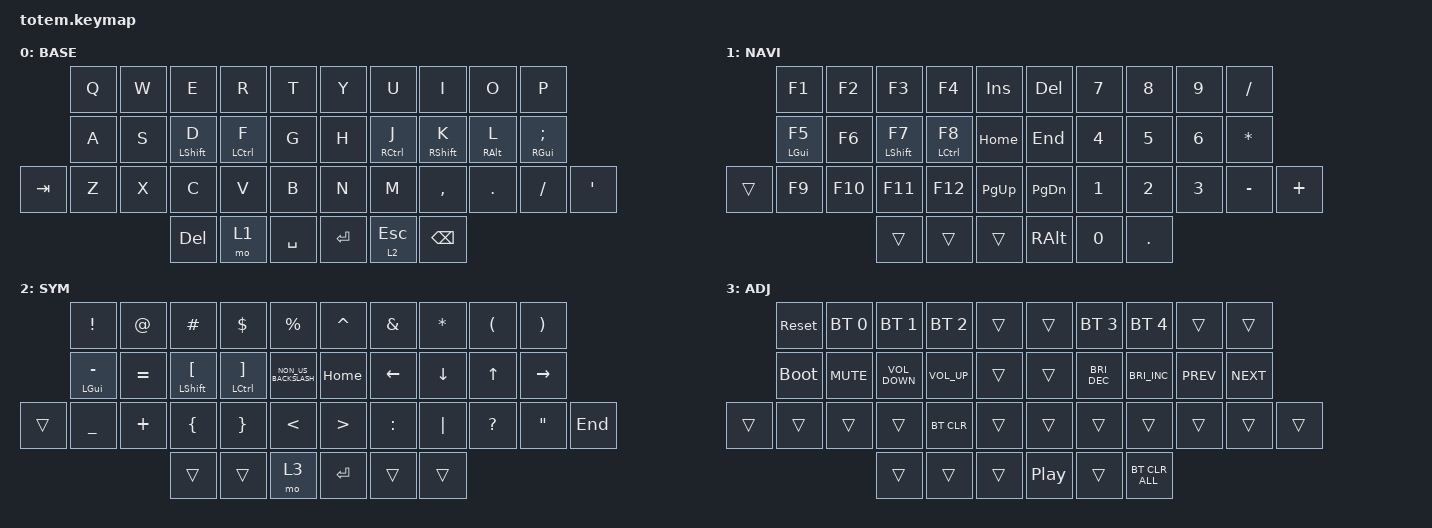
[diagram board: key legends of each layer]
//
//                                                        ▀▀▀▀▀     ▀▀▀▀▀          ▀▀█▀▀
//                                                        ▄▀▀▀▄  ▄  ▄▀▀▀▄  ▄  ▄▀▀▀▄  █  ▄▀▀▀▄
//                                                        █   █  █  █   █  █  █   █  █  █   █
//                                                         ▀▀▀   █   ▀▀▀   █   ▀▀▀   ▀   ▀▀▀
//                                                               █      ▄▄▄█▄▄▄    █   █  
//                                                               ▀      █  █  █     █▄█
//                                                             ▀▀▀▀▀    █  █  █      ▀
//                                                                      ▀  ▀  ▀
//
// ▄▄▄▄▄▄▄▄▄▄▄▄▄▄▄▄▄▄▄▄▄▄▄▄▄▄▄▄▄▄▄▄▄▄▄▄▄▄▄▄▄▄▄▄▄▄▄▄▄▄▄▄▄▄▄▄▄▄▄▄▄▄▄▄▄▄▄▄▄▄▄▄▄▄▄▄▄▄▄▄▄▄▄▄▄▄▄▄▄▄▄▄▄▄▄▄▄▄▄▄▄▄▄▄▄▄▄▄▄▄▄▄▄▄▄▄▄▄▄▄▄▄▄▄▄▄▄▄▄▄▄▄▄▄▄▄▄▄▄▄▄▄▄▄▄▄▄▄▄

#include <behaviors.dtsi>
#include <dt-bindings/zmk/bt.h>
#include <dt-bindings/zmk/keys.h>

#define BASE 0
#define NAV  1
#define SYM  2
#define ADJ  3
#define TVP1 4
#define TVP2 5

&mt {
    quick-tap-ms = <100>;
    global-quick-tap;
    flavor = "tap-preferred";
    tapping-term-ms = <170>;
};

/ {
    combos {
        compatible = "zmk,combos";

        caps {
            bindings = <&kp CAPSLOCK>;
            key-positions = <20 31>;
        };
    };

    macros {
        gif: gif {
            label = "giphy";
            compatible = "zmk,behavior-macro";
            #binding-cells = <0>;
            bindings =
                <&macro_press>,
                <&kp LSHFT>,
                <&macro_tap>,
                <&kp N2>,
                <&macro_release>,
                <&kp LSHFT>,
                <&macro_tap>,
                <&kp G &kp I &kp F>;
        };
    };

    keymap {
        compatible = "zmk,keymap";

        // ▄▄▄▄▄▄▄▄▄▄▄▄▄▄▄▄▄▄▄▄▄▄▄▄▄▄▄▄▄▄▄▄▄▄▄▄▄▄▄▄▄▄▄▄▄▄▄▄▄▄▄▄▄▄▄▄▄▄▄▄▄▄▄▄▄▄▄▄▄▄▄▄▄▄▄▄▄▄▄▄▄▄▄▄▄▄▄▄▄▄▄▄▄▄▄▄▄▄▄▄▄▄▄▄▄▄▄▄▄▄▄▄▄▄▄▄▄▄▄▄▄▄▄▄▄▄▄▄▄▄▄▄▄▄▄▄▄▄▄▄▄▄▄▄▄▄▄▄▄

        base_layer {
            // ┏━━━━━━━━━━━━━━━━━━━━━━━━━━━━━━━━━━━━━━━┓

            label = "BASE";

            // ┗━━━━━━━━━━━━━━━━━━━━━━━━━━━━━━━━━━━━━━━┛
            //             ┏━━━━━━━━━━━┳━━━━━━━━━━━┳━━━━━━━━━━━┳━━━━━━━━━━━┳━━━━━━━━━━━┓   ┏━━━━━━━━━━━┳━━━━━━━━━━━┳━━━━━━━━━━━┳━━━━━━━━━━━┳━━━━━━━━━━━┓
            //             ┃     Q     ┃     W     ┃     F     ┃     P     ┃     G     ┃   ┃     J     ┃     L     ┃     U     ┃     Y     ┃     ;     ┃
            //             ┣━━━━━━━━━━━╋━━━━━━━━━━━╋━━━━━━━━━━━╋━━━━━━━━━━━╋━━━━━━━━━━━┫   ┣━━━━━━━━━━━╋━━━━━━━━━━━╋━━━━━━━━━━━╋━━━━━━━━━━━╋━━━━━━━━━━━┫
            //             ┃     A     ┃     R     ┃     S     ┃     T     ┃     D     ┃   ┃     H     ┃     N     ┃     E     ┃     I     ┃     O     ┃
            // ┏━━━━━━━━━━━╋━━━━━━━━━━━╋━━━━━━━━━━━╋━━━━━━━━━━━╋━━━━━━━━━━━╋━━━━━━━━━━━┫   ┣━━━━━━━━━━━╋━━━━━━━━━━━╋━━━━━━━━━━━╋━━━━━━━━━━━╋━━━━━━━━━━━╋━━━━━━━━━━━┓
            // ┃     Q     ┃     Z     ┃     X     ┃     C     ┃     V     ┃     B     ┃   ┃     K     ┃     M     ┃     ,     ┃     .     ┃     /     ┃     \     ┃
            // ┗━━━━━━━━━━━┻━━━━━━━━━━━┻━━━━━━━━━━━╋━━━━━━━━━━━╋━━━━━━━━━━━╋━━━━━━━━━━━┫   ┣━━━━━━━━━━━╋━━━━━━━━━━━╋━━━━━━━━━━━╋━━━━━━━━━━━┻━━━━━━━━━━━┻━━━━━━━━━━━┛
            //                                     ┃    DEL    ┃    TAB    ┃    SPC    ┃   ┃   ENTER   ┃           ┃   BSPC    ┃
            //                                     ┗━━━━━━━━━━━┻━━━━━━━━━━━┻━━━━━━━━━━━┛   ┗━━━━━━━━━━━┻━━━━━━━━━━━┻━━━━━━━━━━━┛

            bindings = <
         &kp Q  &kp W  &kp E             &kp R        &kp T        &kp Y      &kp U        &kp I              &kp O       &kp P
         &kp A  &kp S  &mt LEFT_SHIFT D  &mt LCTRL F  &kp G        &kp H      &mt RCTRL J  &mt RIGHT_SHIFT K  &mt RALT L  &mt RGUI SEMICOLON
&kp TAB  &kp Z  &kp X  &kp C             &kp V        &kp B        &kp N      &kp M        &kp COMMA          &kp DOT     &kp SLASH           &kp SQT
                       &kp DEL           &mo 1        &kp SPACE    &kp ENTER  &lt 2 ESC    &kp BSPC
            >;
        };

        // ▄▄▄▄▄▄▄▄▄▄▄▄▄▄▄▄▄▄▄▄▄▄▄▄▄▄▄▄▄▄▄▄▄▄▄▄▄▄▄▄▄▄▄▄▄▄▄▄▄▄▄▄▄▄▄▄▄▄▄▄▄▄▄▄▄▄▄▄▄▄▄▄▄▄▄▄▄▄▄▄▄▄▄▄▄▄▄▄▄▄▄▄▄▄▄▄▄▄▄▄▄▄▄▄▄▄▄▄▄▄▄▄▄▄▄▄▄▄▄▄▄▄▄▄▄▄▄▄▄▄▄▄▄▄▄▄▄▄▄▄▄▄▄▄▄▄▄▄▄

        rise_layer {
            // ┏━━━━━━━━━━━━━━━━━━━━━━━━━━━━━━━━━━━━━━━┓

            label = "NAVI";

            // ┗━━━━━━━━━━━━━━━━━━━━━━━━━━━━━━━━━━━━━━━┛
            //             ┏━━━━━━━━━━━┳━━━━━━━━━━━┳━━━━━━━━━━━┳━━━━━━━━━━━┳━━━━━━━━━━━┓   ┏━━━━━━━━━━━┳━━━━━━━━━━━┳━━━━━━━━━━━┳━━━━━━━━━━━┳━━━━━━━━━━━┓
            //             ┃           ┃           ┃     UP    ┃           ┃     {     ┃   ┃     }     ┃     7     ┃     8     ┃     9     ┃     +     ┃
            //             ┣━━━━━━━━━━━╋━━━━━━━━━━━╋━━━━━━━━━━━╋━━━━━━━━━━━╋━━━━━━━━━━━┫   ┣━━━━━━━━━━━╋━━━━━━━━━━━╋━━━━━━━━━━━╋━━━━━━━━━━━╋━━━━━━━━━━━┫
            //             ┃   SHIFT   ┃   LEFT    ┃    DOWN   ┃   RIGHT   ┃     [     ┃   ┃     ]     ┃     4     ┃     5     ┃     6     ┃     -     ┃
            // ┏━━━━━━━━━━━╋━━━━━━━━━━━╋━━━━━━━━━━━╋━━━━━━━━━━━╋━━━━━━━━━━━╋━━━━━━━━━━━┫   ┣━━━━━━━━━━━╋━━━━━━━━━━━╋━━━━━━━━━━━╋━━━━━━━━━━━╋━━━━━━━━━━━╋━━━━━━━━━━━┓
            // ┃           ┃           ┃   P UP    ┃  C LOCK   ┃  P DOWN   ┃     (     ┃   ┃     )     ┃     1     ┃     2     ┃     3     ┃     *     ┃           ┃
            // ┗━━━━━━━━━━━┻━━━━━━━━━━━┻━━━━━━━━━━━╋━━━━━━━━━━━╋━━━━━━━━━━━╋━━━━━━━━━━━┫   ┣━━━━━━━━━━━╋━━━━━━━━━━━╋━━━━━━━━━━━╋━━━━━━━━━━━┻━━━━━━━━━━━┻━━━━━━━━━━━┛
            //                                     ┃           ┃    TAB    ┃    SPC    ┃   ┃    DEL    ┃     0     ┃           ┃
            //                                     ┗━━━━━━━━━━━┻━━━━━━━━━━━┻━━━━━━━━━━━┛   ┗━━━━━━━━━━━┻━━━━━━━━━━━┻━━━━━━━━━━━┛

            bindings = <
        &kp F1           &kp F2   &kp F3             &kp F4        &kp INSERT     &kp DELETE     &kp N7        &kp N8        &kp N9        &kp SLASH
        &mt LEFT_GUI F5  &kp F6   &mt LEFT_SHIFT F7  &mt LCTRL F8  &kp HOME       &kp END        &kp NUMBER_4  &kp N5        &kp NUMBER_6  &kp ASTERISK
&trans  &kp F9           &kp F10  &kp F11            &kp F12       &kp PAGE_UP    &kp PAGE_DOWN  &kp NUMBER_1  &kp NUMBER_2  &kp NUMBER_3  &kp MINUS     &kp PLUS
                                  &trans             &trans        &trans         &kp RIGHT_ALT  &kp N0        &kp PERIOD
            >;
        };

        // ▄▄▄▄▄▄▄▄▄▄▄▄▄▄▄▄▄▄▄▄▄▄▄▄▄▄▄▄▄▄▄▄▄▄▄▄▄▄▄▄▄▄▄▄▄▄▄▄▄▄▄▄▄▄▄▄▄▄▄▄▄▄▄▄▄▄▄▄▄▄▄▄▄▄▄▄▄▄▄▄▄▄▄▄▄▄▄▄▄▄▄▄▄▄▄▄▄▄▄▄▄▄▄▄▄▄▄▄▄▄▄▄▄▄▄▄▄▄▄▄▄▄▄▄▄▄▄▄▄▄▄▄▄▄▄▄▄▄▄▄▄▄▄▄▄▄▄▄▄

        lower_layer {
            // ┏━━━━━━━━━━━━━━━━━━━━━━━━━━━━━━━━━━━━━━━┓

            label = "SYM";

            // ┗━━━━━━━━━━━━━━━━━━━━━━━━━━━━━━━━━━━━━━━┛
            //             ┏━━━━━━━━━━━┳━━━━━━━━━━━┳━━━━━━━━━━━┳━━━━━━━━━━━┳━━━━━━━━━━━┓   ┏━━━━━━━━━━━┳━━━━━━━━━━━┳━━━━━━━━━━━┳━━━━━━━━━━━┳━━━━━━━━━━━┓
            //             ┃     !     ┃     @     ┃     #     ┃     $     ┃     %     ┃   ┃     ˆ     ┃     &     ┃     Ü     ┃     '     ┃     "     ┃
            //             ┣━━━━━━━━━━━╋━━━━━━━━━━━╋━━━━━━━━━━━╋━━━━━━━━━━━╋━━━━━━━━━━━┫   ┣━━━━━━━━━━━╋━━━━━━━━━━━╋━━━━━━━━━━━╋━━━━━━━━━━━╋━━━━━━━━━━━┫
            //             ┃     Ä     ┃           ┃    SZ     ┃           ┃           ┃   ┃   MUTE    ┃   YEN     ┃   EURO    ┃  POUND    ┃     Ö     ┃
            // ┏━━━━━━━━━━━╋━━━━━━━━━━━╋━━━━━━━━━━━╋━━━━━━━━━━━╋━━━━━━━━━━━╋━━━━━━━━━━━┫   ┣━━━━━━━━━━━╋━━━━━━━━━━━╋━━━━━━━━━━━╋━━━━━━━━━━━╋━━━━━━━━━━━╋━━━━━━━━━━━┓
            // ┃           ┃  EMAIL1   ┃  EMAIL2   ┃           ┃           ┃           ┃   ┃   VOL-    ┃   VOL+    ┃   LAST    ┃   NEXT    ┃     \     ┃           ┃
            // ┗━━━━━━━━━━━┻━━━━━━━━━━━┻━━━━━━━━━━━╋━━━━━━━━━━━╋━━━━━━━━━━━╋━━━━━━━━━━━┫   ┣━━━━━━━━━━━╋━━━━━━━━━━━╋━━━━━━━━━━━╋━━━━━━━━━━━┻━━━━━━━━━━━┻━━━━━━━━━━━┛
            //                                     ┃           ┃    GIF    ┃    ADJ    ┃   ┃           ┃           ┃           ┃
            //                                     ┗━━━━━━━━━━━┻━━━━━━━━━━━┻━━━━━━━━━━━┛   ┗━━━━━━━━━━━┻━━━━━━━━━━━┻━━━━━━━━━━━┛

            bindings = <
        &kp EXCL            &kp AT     &kp HASH                     &kp DLLR                 &kp PRCNT               &kp CARET         &kp AMPS   &kp ASTERISK  &kp LEFT_PARENTHESIS  &kp RIGHT_PARENTHESIS
        &mt LEFT_GUI MINUS  &kp EQUAL  &mt LEFT_SHIFT LEFT_BRACKET  &mt LCTRL RIGHT_BRACKET  &kp NON_US_BACKSLASH    &kp HOME          &kp LEFT   &kp DOWN      &kp UP_ARROW          &kp RIGHT
&trans  &kp UNDERSCORE      &kp PLUS   &kp LEFT_BRACE               &kp RIGHT_BRACE          &kp LESS_THAN           &kp GREATER_THAN  &kp COLON  &kp PIPE      &kp QUESTION          &kp DOUBLE_QUOTES      &kp END
                                       &trans                       &trans                   &mo 3                   &kp ENTER         &trans     &trans
            >;
        };

        // ▄▄▄▄▄▄▄▄▄▄▄▄▄▄▄▄▄▄▄▄▄▄▄▄▄▄▄▄▄▄▄▄▄▄▄▄▄▄▄▄▄▄▄▄▄▄▄▄▄▄▄▄▄▄▄▄▄▄▄▄▄▄▄▄▄▄▄▄▄▄▄▄▄▄▄▄▄▄▄▄▄▄▄▄▄▄▄▄▄▄▄▄▄▄▄▄▄▄▄▄▄▄▄▄▄▄▄▄▄▄▄▄▄▄▄▄▄▄▄▄▄▄▄▄▄▄▄▄▄▄▄▄▄▄▄▄▄▄▄▄▄▄▄▄▄▄▄▄▄

        adjust_layer {
            // ┏━━━━━━━━━━━━━━━━━━━━━━━━━━━━━━━━━━━━━━━┓

            label = "ADJ";

            // ┗━━━━━━━━━━━━━━━━━━━━━━━━━━━━━━━━━━━━━━━┛
            //             ┏━━━━━━━━━━━┳━━━━━━━━━━━┳━━━━━━━━━━━┳━━━━━━━━━━━┳━━━━━━━━━━━┓   ┏━━━━━━━━━━━┳━━━━━━━━━━━┳━━━━━━━━━━━┳━━━━━━━━━━━┳━━━━━━━━━━━┓
            //             ┃   RESET   ┃ BT CLEAR  ┃  OUT TOG  ┃           ┃           ┃   ┃           ┃    F7     ┃    F8     ┃    F9     ┃    F12    ┃
            //             ┣━━━━━━━━━━━╋━━━━━━━━━━━╋━━━━━━━━━━━╋━━━━━━━━━━━╋━━━━━━━━━━━┫   ┣━━━━━━━━━━━╋━━━━━━━━━━━╋━━━━━━━━━━━╋━━━━━━━━━━━╋━━━━━━━━━━━┫
            //             ┃ BOOTLOAD  ┃ BT NEXT   ┃           ┃           ┃           ┃   ┃           ┃    F4     ┃    F5     ┃    F6     ┃    F11    ┃
            // ┏━━━━━━━━━━━╋━━━━━━━━━━━╋━━━━━━━━━━━╋━━━━━━━━━━━╋━━━━━━━━━━━╋━━━━━━━━━━━┫   ┣━━━━━━━━━━━╋━━━━━━━━━━━╋━━━━━━━━━━━╋━━━━━━━━━━━╋━━━━━━━━━━━╋━━━━━━━━━━━┓
            // ┃           ┃           ┃ BT PREV   ┃           ┃           ┃           ┃   ┃           ┃    F1     ┃    F2     ┃    F3     ┃    F10    ┃           ┃
            // ┗━━━━━━━━━━━┻━━━━━━━━━━━┻━━━━━━━━━━━╋━━━━━━━━━━━╋━━━━━━━━━━━╋━━━━━━━━━━━┫   ┣━━━━━━━━━━━╋━━━━━━━━━━━╋━━━━━━━━━━━╋━━━━━━━━━━━┻━━━━━━━━━━━┻━━━━━━━━━━━┛
            //                                     ┃           ┃           ┃           ┃   ┃           ┃           ┃           ┃
            //                                     ┗━━━━━━━━━━━┻━━━━━━━━━━━┻━━━━━━━━━━━┛   ┗━━━━━━━━━━━┻━━━━━━━━━━━┻━━━━━━━━━━━┛

            bindings = <
        &sys_reset   &bt BT_SEL 0  &bt BT_SEL 1       &bt BT_SEL 2     &trans    &trans            &bt BT_SEL 3   &bt BT_SEL 4          &trans      &trans
        &bootloader  &kp K_MUTE    &kp C_VOLUME_DOWN  &kp C_VOLUME_UP  &trans    &trans            &kp C_BRI_DEC  &kp C_BRIGHTNESS_INC  &kp C_PREV  &kp C_NEXT
&trans  &trans       &trans        &trans             &bt BT_CLR       &trans    &trans            &trans         &trans                &trans      &trans      &trans
                                   &trans             &trans           &trans    &kp C_PLAY_PAUSE  &trans         &bt BT_CLR_ALL
            >;
        };

        // ▄▄▄▄▄▄▄▄▄▄▄▄▄▄▄▄▄▄▄▄▄▄▄▄▄▄▄▄▄▄▄▄▄▄▄▄▄▄▄▄▄▄▄▄▄▄▄▄▄▄▄▄▄▄▄▄▄▄▄▄▄▄▄▄▄▄▄▄▄▄▄▄▄▄▄▄▄▄▄▄▄▄▄▄▄▄▄▄▄▄▄▄▄▄▄▄▄▄▄▄▄▄▄▄▄▄▄▄▄▄▄▄▄▄▄▄▄▄▄▄▄▄▄▄▄▄▄▄▄▄▄▄▄▄▄▄▄▄▄▄▄▄▄▄▄▄▄▄▄
        // ▄▄▄▄▄▄▄▄▄▄▄▄▄▄▄▄▄▄▄▄▄▄▄▄▄▄▄▄▄▄▄▄▄▄▄▄▄▄▄▄▄▄▄▄▄▄▄▄▄▄▄▄▄▄▄▄▄▄▄▄▄▄▄▄▄▄▄▄▄▄▄▄▄▄▄▄▄▄▄▄▄▄▄▄▄▄▄▄▄▄▄▄▄▄▄▄▄▄▄▄▄▄▄▄▄▄▄▄▄▄▄▄▄▄▄▄▄▄▄▄▄▄▄▄▄▄▄▄▄▄▄▄▄▄▄▄▄▄▄▄▄▄▄▄▄▄▄▄▄
    };
};
